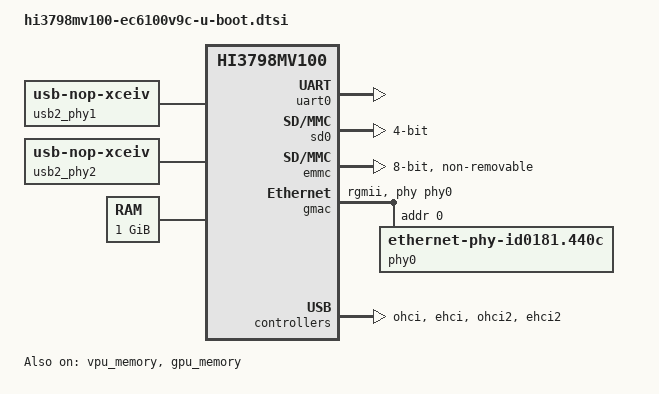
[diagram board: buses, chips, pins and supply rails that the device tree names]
/*
 * U-Boot Device Tree for EC6100V9C with Hi3798MV100
 * Based on U-Boot Hi3798MV200 support
 * Requires Hi3798MV100 kernel patches (David Yang v7, 2023)
 */

#include <dt-bindings/clock/histb-clock.h>
#include <dt-bindings/interrupt-controller/arm-gic.h>
#include <dt-bindings/phy/phy.h>
#include <dt-bindings/reset/ti-syscon.h>

/ {
	compatible = "hisilicon,hi3798mv100-ec6100v9c", "hisilicon,hi3798mv100";
	interrupt-parent = <&gic>;
	#address-cells = <2>;
	#size-cells = <2>;

	chosen {
		stdout-path = "serial0:115200n8";
		bootargs = "console=ttyAMA0,115200n8 earlycon=pl011,0xf8008b000000 rootwait";
	};

	psci {
		compatible = "arm,psci-0.2";
		method = "smc";
	};

	cpus {
		#address-cells = <2>;
		#size-cells = <0>;

		cpu@0 {
			compatible = "arm,cortex-a7";
			device_type = "cpu";
			reg = <0x0 0x0>;
			enable-method = "psci";
		};

		cpu@1 {
			compatible = "arm,cortex-a7";
			device_type = "cpu";
			reg = <0x0 0x1>;
			enable-method = "psci";
		};

		cpu@2 {
			compatible = "arm,cortex-a7";
			device_type = "cpu";
			reg = <0x0 0x2>;
			enable-method = "psci";
		};

		cpu@3 {
			compatible = "arm,cortex-a7";
			device_type = "cpu";
			reg = <0x0 0x3>;
			enable-method = "psci";
		};
	};

	gic: interrupt-controller@f1001000 {
		compatible = "arm,gic-400";
		reg = <0x0 0xf1001000 0x0 0x1000>,  /* GICD */
		      <0x0 0xf1002000 0x0 0x100>;   /* GICC */
		#address-cells = <0>;
		#interrupt-cells = <3>;
		interrupt-controller;
	};

	timer {
		compatible = "arm,armv8-timer";
		interrupts = <GIC_PPI 13 (GIC_CPU_MASK_SIMPLE(4) |
			      IRQ_TYPE_LEVEL_LOW)>,
			     <GIC_PPI 14 (GIC_CPU_MASK_SIMPLE(4) |
			      IRQ_TYPE_LEVEL_LOW)>,
			     <GIC_PPI 11 (GIC_CPU_MASK_SIMPLE(4) |
			      IRQ_TYPE_LEVEL_LOW)>,
			     <GIC_PPI 10 (GIC_CPU_MASK_SIMPLE(4) |
			      IRQ_TYPE_LEVEL_LOW)>;
	};

	/* USB PHYs */
	usb2_phy1: hsusb1_phy {
		compatible = "usb-nop-xceiv";
		clocks = <&crg HISTB_USB2_PHY1_REF_CLK>;
		clock-names = "main";
		#phy-cells = <0>;
	};

	usb2_phy2: hsusb2_phy {
		compatible = "usb-nop-xceiv";
		clocks = <&crg HISTB_USB2_PHY2_REF_CLK>;
		clock-names = "main";
		#phy-cells = <0>;
	};

	soc: soc@f0000000 {
		compatible = "simple-bus";
		#address-cells = <1>;
		#size-cells = <1>;
		ranges = <0x0 0x0 0xf0000000 0x10000000>;

		crg: clock-reset-controller@8a22000 {
			compatible = "hisilicon,hi3798mv100-crg", "syscon", "simple-mfd";
			reg = <0x8a22000 0x1000>;
			#clock-cells = <1>;
			#reset-cells = <2>;
		};

		sysctrl: system-controller@8000000 {
			compatible = "hisilicon,hi3798mv100-sysctrl", "syscon";
			reg = <0x8000000 0x1000>;
			#clock-cells = <1>;
			#reset-cells = <2>;
		};

		perictrl: peripheral-controller@8a20000 {
			compatible = "hisilicon,hi3798mv100-perictrl", "syscon",
				     "simple-mfd";
			reg = <0x8a20000 0x1000>;
			#address-cells = <1>;
			#size-cells = <1>;
			ranges = <0x0 0x8a20000 0x1000>;

			combphy0: phy@850 {
				compatible = "hisilicon,hi3798mv100-combphy";
				reg = <0x850 0x8>;
				#phy-cells = <1>;
				clocks = <&crg HISTB_COMBPHY0_CLK>;
				resets = <&crg 0x188 4>;
				assigned-clocks = <&crg HISTB_COMBPHY0_CLK>;
				assigned-clock-rates = <100000000>;
				hisilicon,fixed-mode = <PHY_TYPE_USB3>;
			};
		};

		pmx0: pinconf@8a21000 {
			compatible = "pinconf-single";
			reg = <0x8a21000 0x180>;
			pinctrl-single,register-width = <32>;
			pinctrl-single,function-mask = <7>;
		};

		/* UART0 - Console */
		uart0: serial@8b00000 {
			compatible = "arm,pl011", "arm,primecell";
			reg = <0x8b00000 0x1000>;
			interrupts = <GIC_SPI 49 IRQ_TYPE_LEVEL_HIGH>;
			clocks = <&sysctrl HISTB_UART0_CLK>;
			clock-names = "apb_pclk";
			status = "okay";
		};

		/* SD/SDIO0 */
		sd0: mmc@9820000 {
			compatible = "snps,dw-mshc";
			reg = <0x9820000 0x10000>;
			interrupts = <GIC_SPI 34 IRQ_TYPE_LEVEL_HIGH>;
			clocks = <&crg HISTB_SDIO0_CIU_CLK>,
				 <&crg HISTB_SDIO0_BIU_CLK>;
			clock-names = "ciu", "biu";
			resets = <&crg 0x9c 4>;
			reset-names = "reset";
			bus-width = <4>;
			cap-sd-highspeed;
			cap-mmc-highspeed;
			status = "okay";
		};

		/* eMMC */
		emmc: mmc@9830000 {
			compatible = "hisilicon,hi3798mv100-dw-mshc";
			reg = <0x9830000 0x10000>;
			interrupts = <GIC_SPI 35 IRQ_TYPE_LEVEL_HIGH>;
			clocks = <&crg HISTB_MMC_CIU_CLK>,
				 <&crg HISTB_MMC_BIU_CLK>,
				 <&crg HISTB_MMC_SAMPLE_CLK>,
				 <&crg HISTB_MMC_DRV_CLK>;
			clock-names = "ciu", "biu", "ciu-sample", "ciu-drive";
			resets = <&crg 0xa0 4>;
			reset-names = "reset";
			bus-width = <8>;
			cap-mmc-highspeed;
			cap-mmc-hs200;
			cap-mmc-hs400;
			non-removable;
			status = "okay";
		};

		/* GMAC - 100Mbps Ethernet */
		gmac: ethernet@9840000 {
			compatible = "hisilicon,hi3798mv100-gmac", "hisilicon,hisi-gmac-v2";
			reg = <0x9840000 0x1000>,
			      <0x984300c 0x4>;
			interrupts = <GIC_SPI 71 IRQ_TYPE_LEVEL_HIGH>;
			clocks = <&crg HISTB_ETH0_MAC_CLK>,
				 <&crg HISTB_ETH0_MACIF_CLK>;
			clock-names = "mac_core", "mac_ifc";
			resets = <&crg 0xcc 0>,
				 <&crg 0xcc 2>,
				 <&crg 0xcc 5>;
			reset-names = "mac_core", "mac_ifc", "phy";
			phy-mode = "rgmii";
			phy-handle = <&phy0>;
			status = "okay";

			phy0: phy@0 {
				compatible = "ethernet-phy-id0181.440c";
				reg = <0>;
			};
		};

		/* USB OHCI */
		ohci: ohci@9880000 {
			compatible = "generic-ohci";
			reg = <0x9880000 0x10000>;
			interrupts = <GIC_SPI 67 IRQ_TYPE_LEVEL_HIGH>;
			clocks = <&crg HISTB_USB2_BUS_CLK>,
				 <&crg HISTB_USB2_12M_CLK>,
				 <&crg HISTB_USB2_48M_CLK>;
			clock-names = "bus", "clk12", "clk48";
			resets = <&crg 0xb8 12>;
			reset-names = "bus";
			status = "okay";
		};

		/* USB EHCI */
		ehci: ehci@9890000 {
			compatible = "generic-ehci";
			reg = <0x9890000 0x10000>;
			interrupts = <GIC_SPI 66 IRQ_TYPE_LEVEL_HIGH>;
			clocks = <&crg HISTB_USB2_BUS_CLK>,
				 <&crg HISTB_USB2_12M_CLK>,
				 <&crg HISTB_USB2_48M_CLK>;
			clock-names = "bus", "clk12", "clk48";
			resets = <&crg 0xb8 11>;
			reset-names = "bus";
			status = "okay";
		};

		/* USB2 Second Controller (Hi3798MV100 specific) */
		ohci2: ohci@98a0000 {
			compatible = "generic-ohci";
			reg = <0x98a0000 0x10000>;
			interrupts = <GIC_SPI 69 IRQ_TYPE_LEVEL_HIGH>;
			clocks = <&crg HISTB_USB2_2_BUS_CLK>,
				 <&crg HISTB_USB2_2_12M_CLK>,
				 <&crg HISTB_USB2_2_48M_CLK>;
			clock-names = "bus", "clk12", "clk48";
			resets = <&crg 0x198 12>;
			reset-names = "bus";
			status = "okay";
		};

		ehci2: ehci@98b0000 {
			compatible = "generic-ehci";
			reg = <0x98b0000 0x10000>;
			interrupts = <GIC_SPI 68 IRQ_TYPE_LEVEL_HIGH>;
			clocks = <&crg HISTB_USB2_2_BUS_CLK>,
				 <&crg HISTB_USB2_2_12M_CLK>,
				 <&crg HISTB_USB2_2_48M_CLK>;
			clock-names = "bus", "clk12", "clk48";
			resets = <&crg 0x198 11>;
			reset-names = "bus";
			status = "okay";
		};
	};

	/* Memory - 1GB DDR3 */
	memory@40000000 {
		device_type = "memory";
		reg = <0x0 0x40000000 0x0 0x40000000>;
	};

	/* Reserved memory for VPU */
	vpu_memory: vpu-memory@7c000000 {
		compatible = "shared-dma-pool";
		reg = <0x0 0x7c000000 0x0 0x4000000>;
		reusable;
		status = "okay";
	};

	/* Reserved memory for GPU */
	gpu_memory: gpu-memory@78000000 {
		compatible = "shared-dma-pool";
		reg = <0x0 0x78000000 0x0 0x4000000>;
		reusable;
		status = "okay";
	};
};
